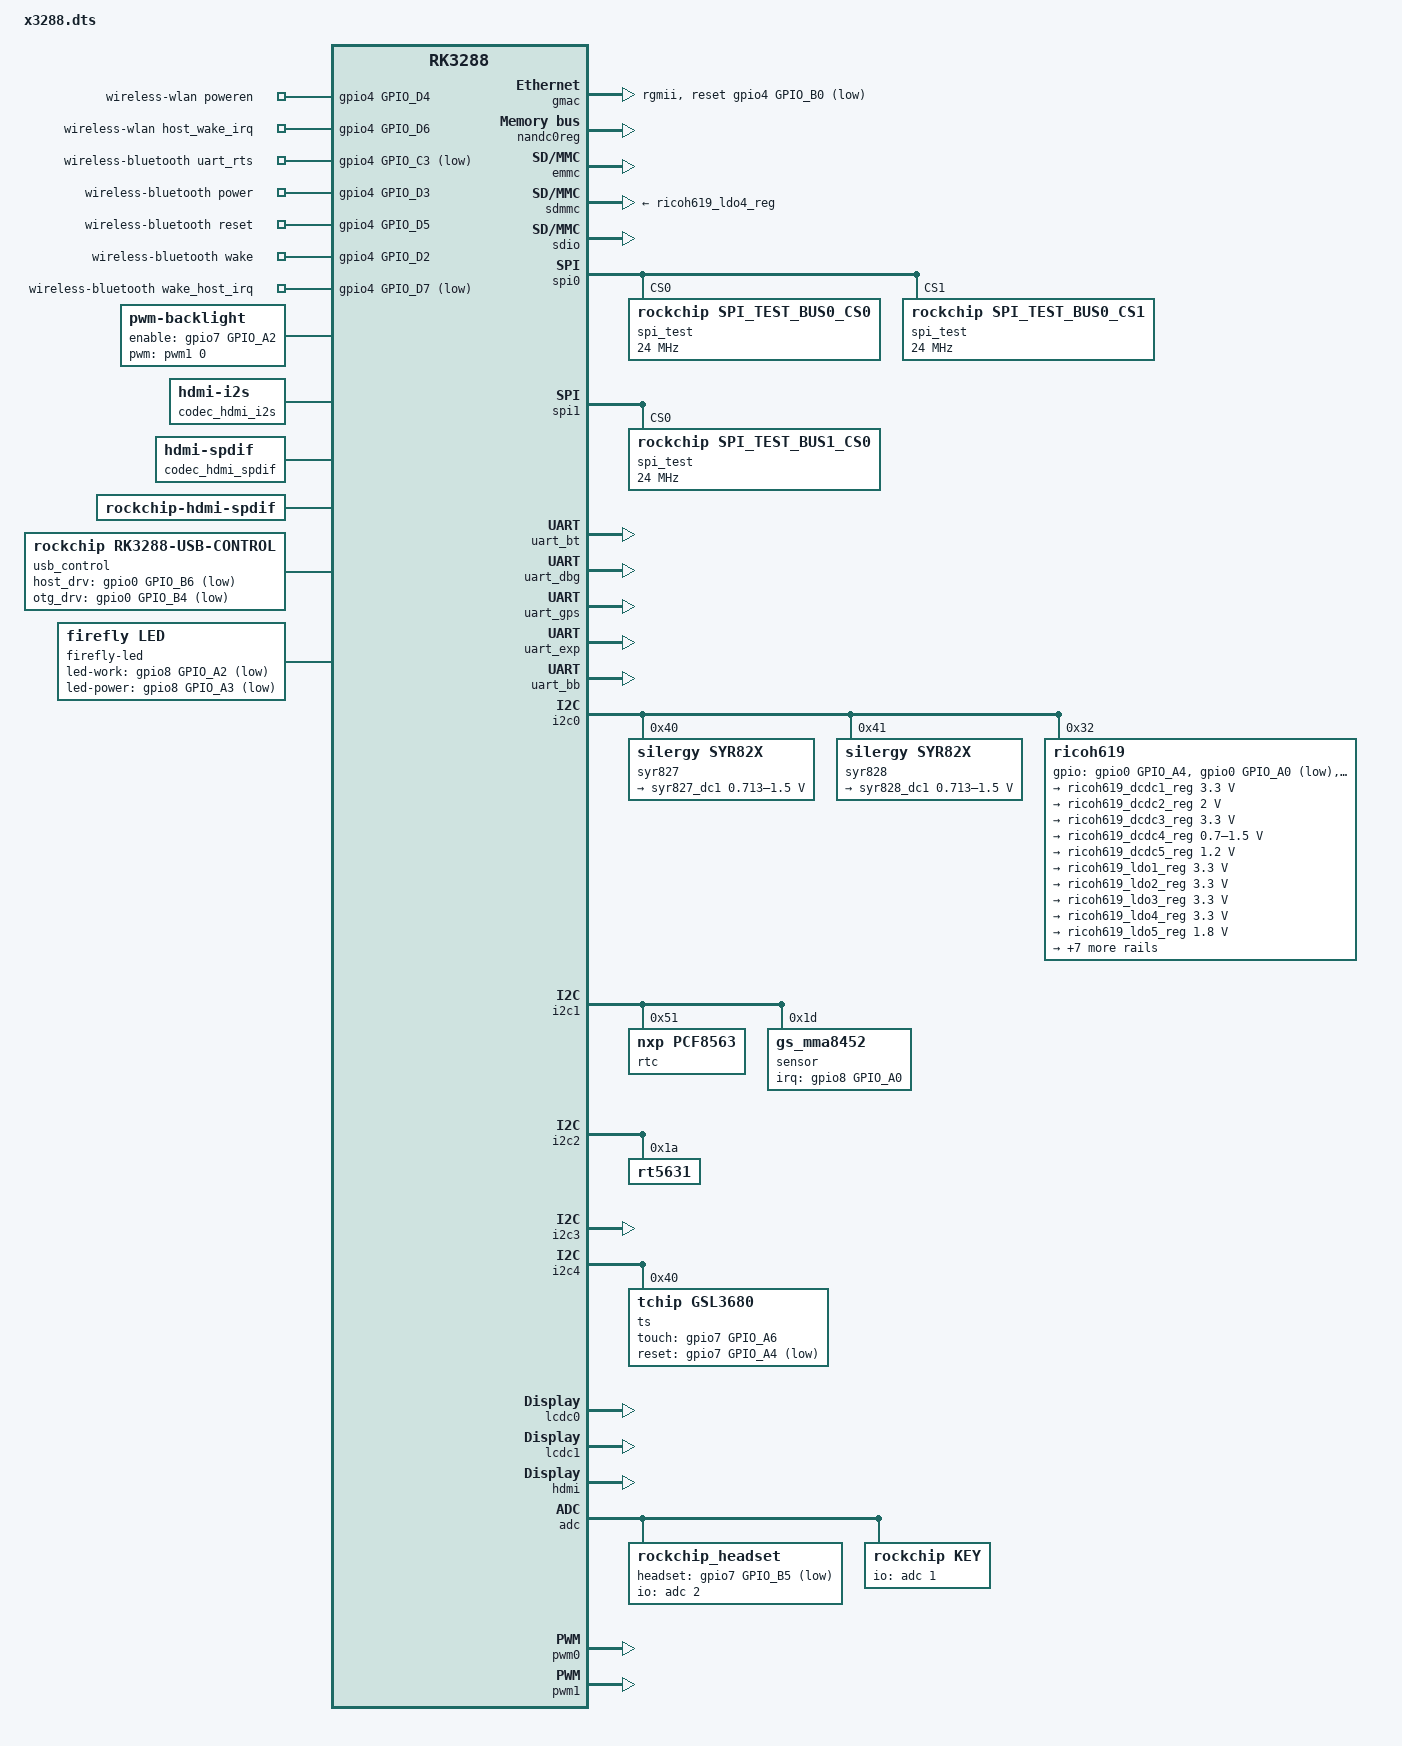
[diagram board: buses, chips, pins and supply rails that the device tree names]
/dts-v1/;

//#include <dt-bindings/input/input.h>
#include "rk3288.dtsi"
//#include "lcd-b101ew05.dtsi"

// TRULY dual lvds TTR9F0090FPC
//#include "lcd-ttr9f0090fpc.dtsi" 

// truly Mipi ips5k0350fpc
//#include "lcd-ips5k0350fpc-mipi.dtsi"

//#include "trip_mipi.dtsi"
#include "lcd-td043mgeal_trip.dtsi"
//#include "lcd-td043mgeal_5inch_trip.dtsi"
//#include "trip_mipi_tc.dtsi"

/ {
	fiq-debugger {
		status = "disabled";
	};

    wireless-wlan {
        compatible = "wlan-platdata";

        /* wifi_chip_type - wifi chip define
         * bcmwifi ==> like ap6xxx, rk90x;
         * rtkwifi ==> like rtl8188xx, rtl8723xx;
         * esp8089 ==> esp8089;
         * other   ==> for other wifi;
         */
        //wifi_chip_type = "rtkwifi";
	wifi_chip_type = "bcmwifi";
        sdio_vref = <1800>; //1800mv or 3300mv

	//keep_wifi_power_on;
        //power_ctrl_by_pmu;
        power_pmu_regulator = "act_ldo3";
        power_pmu_enable_level = <1>; //1->HIGH, 0->LOW

        //vref_ctrl_enable;
        //vref_ctrl_gpio = <&gpio0 GPIO_A2 GPIO_ACTIVE_HIGH>;
        vref_pmu_regulator = "act_ldo3";
        vref_pmu_enable_level = <1>; //1->HIGH, 0->LOW

        WIFI,poweren_gpio = <&gpio4 GPIO_D4 GPIO_ACTIVE_HIGH>;
        WIFI,host_wake_irq = <&gpio4 GPIO_D6 GPIO_ACTIVE_HIGH>;
        //WIFI,reset_gpio = <&gpio0 GPIO_A2 GPIO_ACTIVE_LOW>;

        status = "okay";
    };

    wireless-bluetooth {
        compatible = "bluetooth-platdata";

        //wifi-bt-power-toggle;

        uart_rts_gpios = <&gpio4 GPIO_C3 GPIO_ACTIVE_LOW>;
        pinctrl-names = "default","rts_gpio";
        pinctrl-0 = <&uart0_rts>;
        pinctrl-1 = <&uart0_rts_gpio>;

        BT,power_gpio = <&gpio4 GPIO_D3 GPIO_ACTIVE_HIGH>;
        BT,reset_gpio = <&gpio4 GPIO_D5 GPIO_ACTIVE_HIGH>;
        BT,wake_gpio = <&gpio4 GPIO_D2 GPIO_ACTIVE_HIGH>;
        BT,wake_host_irq = <&gpio4 GPIO_D7 GPIO_ACTIVE_LOW>;

        status = "okay";
    };

   
	backlight {
		compatible = "pwm-backlight";
		pwms = <&pwm1 0 10000>;
		rockchip,pwm_id= <1>;
		brightness-levels = </*255 254 253 252 251 250 249 248 247 246 245 244 243 242 241 240
		     239 238 237 236 235 234 233 232 231 230 229 228 227 226 225 224 223 222 221 */220
		     219 218 217 216 215 214 213 212 211 210 209 208 207 206 205 204 203 202 201 200
		     199 198 197 196 195 194 193 192 191 190 189 188 187 186 185 184 183 182 181 180
		     179 178 177 176 175 174 173 172 171 170 169 168 167 166 165 164 163 162 161 160
		     159 158 157 156 155 154 153 152 151 150 149 148 147 146 145 144 143 142 141 140
		     139 138 137 136 135 134 133 132 131 130 129 128 127 126 125 124 123 122 121 120
		     119 118 117 116 115 114 113 112 111 110 109 108 107 106 105 104 103 102 101 100
		     99 98 97 96 95 94 93 92 91 90 89 88 87 86 85 84 83 82 81 80 79 78 77 76 75 74 73 72 71 70
		     69 68 67 66 65 64 63 62 61 60 59 58 57 56 55 54 53 52 51 50 49 48 47 46 45 44 43 42 41 40
		     39 38 37 36 35 34 33 32 31 30 29 28 27 26 25 24 23 22 21 20 19 18 17 16 15 14 13 12 11 10
		     9 8 7 6 5 4 3 2 1 0>;
		default-brightness-level = <128>;
		enable-gpios = <&gpio7 GPIO_A2 GPIO_ACTIVE_HIGH>;
	};






////////////////////////////////////////////////////////////这一块不能屏蔽，否则解锁进入系统后，无法深度休眠
	codec_hdmi_i2s: codec-hdmi-i2s {
		compatible = "hdmi-i2s";
	};

	codec_hdmi_spdif: codec-hdmi-spdif {
		compatible = "hdmi-spdif";
	};

	rockchip-hdmi-i2s {
		compatible = "rockchip-hdmi-i2s";
		dais {
			dai0 {
				audio-codec = <&codec_hdmi_i2s>;
				i2s-controller = <&i2s>;
				format = "i2s";
				//continuous-clock;
				//bitclock-inversion;
				//frame-inversion;
				//bitclock-master;
				//frame-master;
			};
		};
	};
	
	rockchip-hdmi-spdif {
		compatible = "rockchip-hdmi-spdif";
		dais {
			dai0 {
				audio-codec = <&codec_hdmi_spdif>;
				i2s-controller = <&spdif>;
			};
		};
	};
///////////////////////////////////////////////////////////////////////
	rockchip-rt5631 {
		compatible = "rockchip-rt5631";
		dais {
			dai0 {
				audio-codec = <&rt5631>;
				i2s-controller = <&i2s>;
				format = "i2s";
				//continuous-clock;
				//bitclock-inversion;
				//frame-inversion;
				//bitclock-master;
				//frame-master;
			};
		};
	};






	rkxx-remotectl{
		compatible = "rockchip,remotectl";
                module-gpios = <&gpio7 GPIO_A0 GPIO_ACTIVE_LOW>;
        led-power = <&gpio8 GPIO_A1 GPIO_ACTIVE_LOW>;
		status = "disabled";
	};

	usb_control {
		compatible = "rockchip,rk3288-usb-control";

		host_drv_gpio = <&gpio0 GPIO_B6 GPIO_ACTIVE_LOW>;
		otg_drv_gpio = <&gpio0 GPIO_B4 GPIO_ACTIVE_LOW>;

		rockchip,remote_wakeup;
		rockchip,usb_irq_wakeup;
	};

	

	firefly-led{
		compatible = "firefly,led";
		led-work = <&gpio8 GPIO_A2 GPIO_ACTIVE_LOW>;
		led-power = <&gpio8 GPIO_A3 GPIO_ACTIVE_LOW>;
		status = "okay";
	};

};

&gmac {
//	power_ctl_by = "gpio";	//"gpio" "pmu"
//	power-gpio = <&gpio0 GPIO_A6 GPIO_ACTIVE_HIGH>;
//	power-pmu = "act_ldo"
	reset-gpio = <&gpio4 GPIO_B0 GPIO_ACTIVE_LOW>;
	phy-mode = "rgmii";
	clock_in_out = "input";
	tx_delay = <0x30>;
	rx_delay = <0x20>;
	status = "okay";  //if want to use gmac, please set "okay"
};

&pinctrl {
	//used for init some gpio

	gpio0_gpio {
			gpio0_c2: gpio0-c2 {
				rockchip,pins = <GPIO0_C2>;
				rockchip,pull = <VALUE_PULL_DOWN>;
			};

			//to add
			gpio0_a5: gpio0-a5 {
				rockchip,pins = <GPIO0_A5>;
				rockchip,pull = <VALUE_PULL_UP>;
			};
		};


	
		
	gpio7_gpio {
			/*
			gpio7_b7: gpio7-b7 {
				rockchip,pins = <GPIO7_B7>;
				rockchip,pull = <VALUE_PULL_UP>;
			};
			*/

			gpio7_b5: gpio7-b5 {
				rockchip,pins = <GPIO7_B5>;
				rockchip,pull = <VALUE_PULL_DOWN>;
			};

			//to add
		};
		
	//could add other pinctrl definition such as gpio

	// gmac drive strength
	gpio4_gmac {
		mac_clk: mac-clk {
			rockchip,drive = <VALUE_DRV_12MA>;
		};

		mac_txpins: mac-txpins {
			rockchip,drive = <VALUE_DRV_12MA>;
		};

		mac_rxpins: mac-rxpins {
			rockchip,drive = <VALUE_DRV_12MA>;
		};

		mac_crs: mac-crs {
			rockchip,drive = <VALUE_DRV_12MA>;
		};

		mac_mdpins: mac-mdpins {
			rockchip,drive = <VALUE_DRV_12MA>;
		};
	};
};
&nandc0 {
	status = "disabled"; // used nand set "disabled" ,used emmc set "okay"
};
&nandc1 {
	status = "disabled"; // used nand set "disabled" ,used emmc set "okay"
};   

&nandc0reg {
	status = "okay"; // used nand set "disabled" ,used emmc set "okay"
};

&emmc {
	clock-frequency = <100000000>;
	clock-freq-min-max = <400000 100000000>;

        supports-highspeed;
	supports-emmc;
        bootpart-no-access;
	
	//supports-tSD;
	//supports-DDR_MODE; //you should set the two value in your project. only close in RK3288-SDK board.
	//caps2-mmc-hs200;

        ignore-pm-notify;
	keep-power-in-suspend;
	
	//poll-hw-reset 
	status = "okay";
};
    
&sdmmc {
		clock-frequency = <50000000>;
		clock-freq-min-max = <400000 50000000>;
		supports-highspeed;
		supports-sd;
		broken-cd;
		card-detect-delay = <200>;

		ignore-pm-notify;
        	keep-power-in-suspend;
	
        	vmmc-supply = <&ricoh619_ldo4_reg>;
		status = "okay";
};
		
&sdio {
		clock-frequency = <37500000>;
		clock-freq-min-max = <200000 50000000>;
		supports-highspeed;
		supports-sdio;
		ignore-pm-notify;
		keep-power-in-suspend;
		//cap-sdio-irq;
		status = "okay";
};

&spi0 {
	//status = "disabled";
	status = "okay";
	max-freq = <48000000>;	
	
	spi_test@00 {
     		compatible = "rockchip,spi_test_bus0_cs0";
                reg = <0>;
                spi-max-frequency = <24000000>;
                //spi-cpha;
		//spi-cpol;
                poll_mode = <0>;
	        type = <0>;
		enable_dma = <0>;
		
	};

	spi_test@01 {
	        compatible = "rockchip,spi_test_bus0_cs1";
	        reg = <1>;
	        spi-max-frequency = <24000000>;
	        spi-cpha;
		spi-cpol;
	        poll_mode = <0>;
	        type = <0>;
		enable_dma = <0>;	        
	};
	
};

&spi1 {
	//status = "disabled";
	status = "okay";
	max-freq = <48000000>;
	
	spi_test@10 {
	        compatible = "rockchip,spi_test_bus1_cs0";
	        reg = <0>;
	        spi-max-frequency = <24000000>;
	        //spi-cpha;
		//spi-cpol;
	        poll_mode = <0>;
	        type = <0>;
		enable_dma = <0>;
	};

	
};

&spi2 {
	status = "disabled";
	max-freq = <48000000>;
	
};

&uart_bt {
        status = "okay";
        dma-names = "!tx", "!rx";
        pinctrl-0 = <&uart0_xfer &uart0_cts>;
};

&uart_dbg {
	status = "okay";
};


&uart_gps {
	status = "okay";
        dma-names = "!tx", "!rx";
        pinctrl-0 = <&uart3_xfer &uart3_cts>;	
};

&uart_exp {
	status = "okay";
        dma-names = "!tx", "!rx";
        pinctrl-0 = <&uart4_xfer &uart4_cts>;	
};

&uart_bb {
	status = "okay";
        dma-names = "!tx", "!rx";
        pinctrl-0 = <&uart1_xfer &uart1_cts>;	
};


&i2c0 {
	status = "okay";

	syr827: syr827@40 {
		compatible = "silergy,syr82x";
  	reg = <0x40>;
		status = "okay";
		regulators {
			#address-cells = <1>;
			#size-cells = <0>;	
			syr827_dc1: regulator@0 {
			reg = <0>;
			regulator-compatible = "syr82x_dcdc1";
			regulator-name = "vdd_arm";
			regulator-min-microvolt = <712500>;
			regulator-max-microvolt = <1500000>;
			regulator-always-on;
			regulator-boot-on;
			regulator-initial-mode = <0x2>;
			regulator-initial-state = <3>;
			regulator-state-mem {
				regulator-state-mode = <0x2>;
				regulator-state-disabled;
				regulator-state-uv = <900000>;
			};
		};
	   };
	};
	syr828: syr828@41 {
		compatible = "silergy,syr82x";
		reg = <0x41>;
		status = "okay";
		regulators {
			#address-cells = <1>;
			#size-cells = <0>;	
			syr828_dc1: regulator@0 {
			reg = <0>;
			regulator-compatible = "syr82x_dcdc1";
			regulator-name = "vdd_gpu";
			regulator-min-microvolt = <712500>;
			regulator-max-microvolt = <1500000>;
			regulator-always-on;
  		regulator-boot-on;
			regulator-initial-mode = <0x2>;
			regulator-initial-state = <3>;
			regulator-state-mem {
				regulator-state-mode = <0x2>;
				regulator-state-enabled;
				regulator-state-uv = <900000>;
			};	
		};
	   };
	};


	ricoh619: ricoh619@32 {
		reg = <0x32>;
 		status = "okay";
 	};


};

&i2c1 {
	status = "okay";
	rtc@51 {
		compatible = "nxp,pcf8563";
		reg = <0x51>;
	};

	sensor@1d {
		compatible = "gs_mma8452";
		reg = <0x1d>;
		type = <SENSOR_TYPE_ACCEL>;
		irq-gpio = <&gpio8 GPIO_A0 IRQ_TYPE_EDGE_FALLING>;
		irq_enable = <1>;
		poll_delay_ms = <30>;
		layout = <4>;
	};
};

&i2c2 {
	status = "okay";
	rt5631: rt5631@1a {
		compatible = "rt5631";
		reg = <0x1a>;
		/*phone_det_level = <1>;*/
	};

};

&i2c3 {
	status = "okay";
};

&i2c4 {
	status = "okay";
	//status = "disabled";

	ts@40 { 
        compatible = "tchip,gsl3680";
        reg = <0x40>;
        touch-gpio = <&gpio7 GPIO_A6 IRQ_TYPE_EDGE_RISING>;
        reset-gpio = <&gpio7 GPIO_A4 GPIO_ACTIVE_LOW>;
	//bug-gpio = <&gpio0 GPIO_A5 GPIO_ACTIVE_LOW>;
        max-x = <1024>;
        max-y = <600>;
    };

};




&i2c5 {
	status = "disabled";
};

&fb {
	rockchip,disp-mode = <DUAL>;
	rockchip,uboot-logo-on = <0>;
};

&rk_screen {
	 display-timings = <&disp_timings>;
};

/*lcdc0 as PRMRY(LCD),lcdc1 as EXTEND(HDMI)*/
&lcdc0 {
	status = "okay";
	rockchip,mirror = <NO_MIRROR>;
	rockchip,cabc_mode = <0>;
	power_ctr: power_ctr {
		rockchip,debug = <0>;
		

	};
};

&lcdc1 {
	status = "okay";
	/*rockchip,mirror = <ROTATE_270>;*/
	rockchip,mirror = <NO_MIRROR>;
	
};

&hdmi {
	status = "okay";
	rockchips,hdmi_audio_source = <0>;
};

&adc {
	status = "okay";

	rockchip_headset {
		compatible = "rockchip_headset";
		headset_gpio = <&gpio7 GPIO_B5 GPIO_ACTIVE_LOW>;
		pinctrl-names = "default";
		pinctrl-0 = <&gpio7_b5>;
		io-channels = <&adc 2>; 
       	  /*
               hook_gpio = ;
               hook_down_type = ; //interrupt hook key down status 
	*/       
       };

	key {
		compatible = "rockchip,key";
		io-channels = <&adc 1>;		
	};
};





&pwm0 {
	interrupts = <GIC_SPI 78 IRQ_TYPE_LEVEL_HIGH>;
        status = "okay";
};

&pwm1 {
	status = "okay";
};



&clk_core_dvfs_table {
	operating-points = <
		/* KHz    uV */
		126000 950000
		216000 950000
		312000 950000
		408000 950000
		600000 950000
		696000 950000
		816000 1050000
		1008000 1100000
		1200000 1150000
		1416000 1250000
		1512000 1350000
		1608000 1400000
		1704000 1400000
		1800000 1400000
		>;
	status="okay";
};

&clk_gpu_dvfs_table {
	operating-points = <
		/* KHz    uV */
		100000 850000
		200000 900000
		300000 950000
		420000 1050000
		500000 1150000
		>;
	status="okay";
};

&clk_ddr_dvfs_table {
	operating-points = <
		/* KHz    uV */
		200000 950000
		300000 950000
		400000 1000000
		533000 1050000
		>;

	freq-table = <
		/*status		freq(KHz)*/
		SYS_STATUS_NORMAL	400000
		SYS_STATUS_SUSPEND	200000
		SYS_STATUS_VIDEO_1080P  240000
		SYS_STATUS_VIDEO_4K     400000
		SYS_STATUS_PERFORMANCE  528000
		SYS_STATUS_DUALVIEW	400000
		SYS_STATUS_BOOST	324000
		SYS_STATUS_ISP		533000
		>;
	auto-freq-table = <
		240000
		324000
		396000
		528000
		>;
	auto-freq=<0>;
	status="okay";
};


/include/ "ricoh619.dtsi"
&ricoh619 {
	gpios =<&gpio0 GPIO_A4 GPIO_ACTIVE_HIGH>,<&gpio0 GPIO_A0 GPIO_ACTIVE_LOW>,<&gpio0 GPIO_A6 GPIO_ACTIVE_HIGH>;
	ricoh619,system-power-controller;
	
	regulators {
		ricoh619_dcdc1_reg: regulator@0 {
			regulator-name = "vccio";
			regulator-min-microvolt = <3300000>;
			regulator-max-microvolt = <3300000>;
			regulator-initial-mode = <0x2>;
			regulator-initial-state = <3>;
			regulator-state-mem {
				regulator-state-mode = <0x2>;
				regulator-state-enabled;
				regulator-state-uv = <2800000>;
				
			};	
		};
		ricoh619_dcdc2_reg: regulator@1 {
			regulator-name = "ricoh619_dcdc2";
			regulator-min-microvolt = <2000000>;
			regulator-max-microvolt = <2000000>;
			regulator-initial-mode = <0x2>;
			regulator-initial-state = <3>;
			regulator-state-mem {
				regulator-state-mode = <0x2>;
				regulator-state-enabled;
				regulator-state-uv = <2000000>;
			};	
		};
		ricoh619_dcdc3_reg: regulator@2 {
			regulator-name = "vcc_lcd";
			regulator-min-microvolt = <3300000>;
			regulator-max-microvolt = <3300000>;
			regulator-initial-mode = <0x2>;
			regulator-initial-state = <3>;
			regulator-state-mem {
				regulator-state-mode = <0x2>;
				regulator-state-enabled;
				regulator-state-uv = <3300000>;
			};	
		};
		ricoh619_dcdc4_reg: regulator@3 {
			regulator-name = "vdd_logic";
			regulator-min-microvolt = <700000>;
			regulator-max-microvolt = <1500000>;
			regulator-initial-mode = <0x2>;
			regulator-initial-state = <3>;
			regulator-state-mem {
				regulator-state-mode = <0x2>;
				regulator-state-enabled;
				regulator-state-uv = <900000>;
			};	
		};
		ricoh619_dcdc5_reg: regulator@4 {
			regulator-name = "vcc_ddr";
			regulator-min-microvolt = <1200000>;
			regulator-max-microvolt = <1200000>;
			regulator-initial-mode = <0x2>;
			regulator-initial-state = <3>;
			regulator-state-mem {
				regulator-state-mode = <0x2>;
				regulator-state-enabled;
				regulator-state-uv = <1200000>;
			};	
		};
		ricoh619_ldo1_reg: regulator@5  {
			regulator-name = "vccio_pmu";
			regulator-min-microvolt = <3300000>;
			regulator-max-microvolt = <3300000>;
			regulator-initial-state = <3>;
			regulator-state-mem {
				regulator-state-enabled;
				regulator-state-uv = <3300000>;
			};	
		};
		ricoh619_ldo2_reg: regulator@6  {
			regulator-name = "ricoh619_ldo2";
			regulator-min-microvolt = <3300000>;
			regulator-max-microvolt = <3300000>;
			regulator-initial-state = <3>;
			regulator-state-mem {
				regulator-state-enabled;
				regulator-state-uv = <3300000>;
			};
		};
		ricoh619_ldo3_reg: regulator@7  {
			regulator-name = "ricoh619_ldo3";
			regulator-min-microvolt = <3300000>;
			regulator-max-microvolt = <3300000>;
			regulator-initial-state = <3>;
			regulator-state-mem {
				regulator-state-enabled;
				regulator-state-uv = <3300000>;
			};
		};
		ricoh619_ldo4_reg: regulator@8  {
			regulator-name = "vcc_sd";
			regulator-min-microvolt = <3300000>;
			regulator-max-microvolt = <3300000>;
			regulator-initial-state = <3>;
			regulator-state-mem {
				regulator-state-enabled;
				regulator-state-uv = <3300000>;
			};
		};
		ricoh619_ldo5_reg: regulator@9  {
			regulator-name = "vcc_wl";
			regulator-min-microvolt = <1800000>;
			regulator-max-microvolt = <1800000>;
			regulator-initial-state = <3>;
			regulator-state-mem {
				regulator-state-enabled;
				regulator-state-uv = <1800000>;
			};
		};
		ricoh619_ldo6_reg: regulator@10  {
			regulator-name = "ricoh619_ldo6";
			regulator-min-microvolt = <1800000>;
			regulator-max-microvolt = <1800000>;
			regulator-initial-state = <3>;
			regulator-state-mem {
				regulator-state-enabled;
				regulator-state-uv = <1800000>;
			};
		};
		ricoh619_ldo7_reg: regulator@11  {
			regulator-name = "ricoh619_ldo7";
			regulator-min-microvolt = <1000000>;
			regulator-max-microvolt = <1000000>;
			regulator-initial-state = <3>;
			regulator-state-mem {
				regulator-state-enabled;
				regulator-state-uv = <1000000>;
			};
		};
		ricoh619_ldo8_reg: regulator@12  {
			regulator-name = "ricoh619_ldo8";
			regulator-min-microvolt = <3300000>;
			regulator-max-microvolt = <3300000>;
			regulator-initial-state = <3>;
			regulator-state-mem {
				regulator-state-enabled;
				regulator-state-uv = <3300000>;
			};
		};
		ricoh619_ldo9_reg: regulator@13  {
			regulator-name = "ricoh619_ldo9";
			regulator-min-microvolt = <1000000>;
			regulator-max-microvolt = <1000000>;
			regulator-initial-state = <3>;
			regulator-state-mem {
				regulator-state-enabled;
				regulator-state-uv = <1000000>;
			};
		};
		ricoh619_ldo10_reg: regulator@14  {
			regulator-name = "vcc_18";
			regulator-min-microvolt = <1800000>;
			regulator-max-microvolt = <1800000>;
			regulator-initial-state = <3>;
			regulator-state-mem {
				regulator-state-enabled;
				regulator-state-uv = <1800000>;
			};
		};
		ricoh619_ldortc1_reg: regulator@15  {
			regulator-name = "ricoh619_ldortc1";
			regulator-min-microvolt = < 3300000>;
			regulator-max-microvolt = <3300000>;
		};
		ricoh619_ldortc2_reg: regulator@16  {
			regulator-name = "ricoh619_ldortc2";
			regulator-min-microvolt = < 3300000>;
			regulator-max-microvolt = <3300000>;
		};
	};
};



&lcdc_vdd_domain {
	regulator-name = "vcc30_lcd";
	};
&dpio_vdd_domain{
	regulator-name = "vcc18_cif";	
	};
&flash0_vdd_domain{
	regulator-name = "vcc_flash";	
	};
&flash1_vdd_domain{
	regulator-name = "vcc_flash";			
	};
&apio3_vdd_domain{
	regulator-name = "vccio_wl";		
	};
&apio5_vdd_domain{
	regulator-name = "vccio";		
	};
&apio4_vdd_domain{
	regulator-name = "vccio";		
	};
&apio1_vdd_domain{
	regulator-name = "vccio";			
	};
&apio2_vdd_domain{

	regulator-name = "vccio";		
	};
&sdmmc0_vdd_domain{
	regulator-name = "vcc_sd";			
	};

&ion_cma {
       reg = <0x40000000 0x28000000>; /* 640MB */
};

&dwc_control_usb {
	usb_uart {
		status = "disabled";
	};
};
